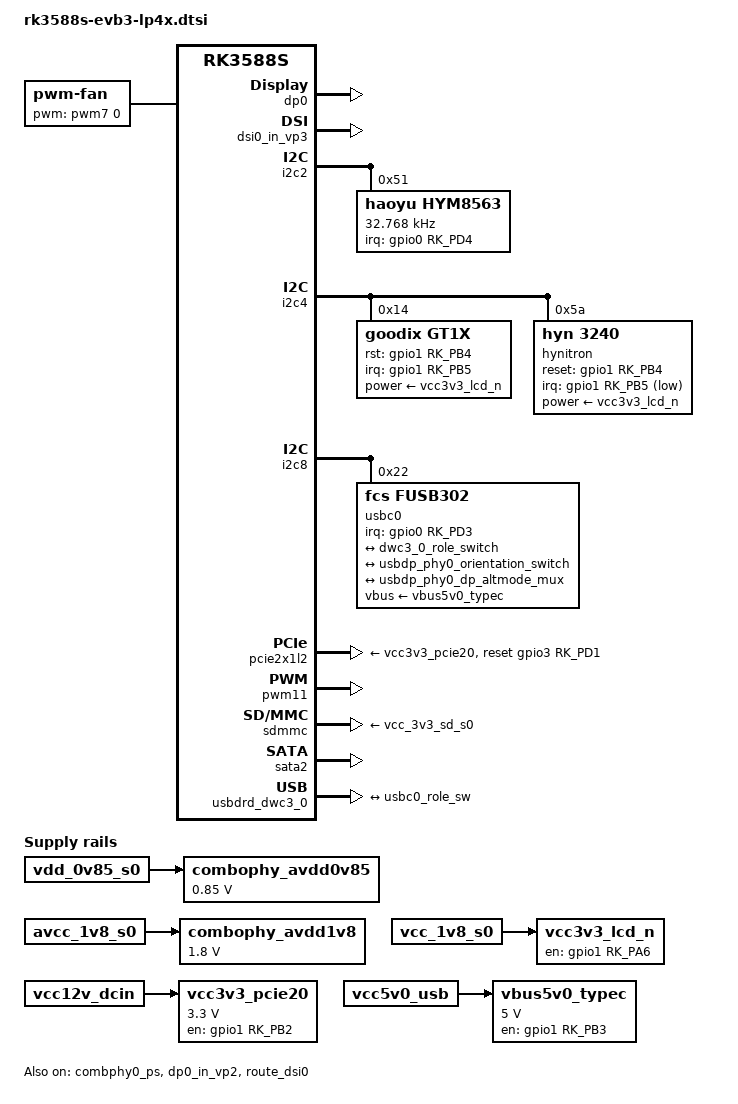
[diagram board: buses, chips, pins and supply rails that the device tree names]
// SPDX-License-Identifier: (GPL-2.0+ OR MIT)
/*
 * Copyright (c) 2021 Rockchip Electronics Co., Ltd.
 *
 */

#include "dt-bindings/usb/pd.h"
#include "rk3588s.dtsi"
#include "rk3588s-evb.dtsi"
#include "rk3588s-rk806-dual.dtsi"

/ {
	combophy_avdd0v85: combophy-avdd0v85 {
		compatible = "regulator-fixed";
		regulator-name = "combophy_avdd0v85";
		regulator-boot-on;
		regulator-always-on;
		regulator-min-microvolt = <850000>;
		regulator-max-microvolt = <850000>;
		vin-supply = <&vdd_0v85_s0>;
	};

	combophy_avdd1v8: combophy-avdd1v8 {
		compatible = "regulator-fixed";
		regulator-name = "combophy_avdd1v8";
		regulator-boot-on;
		regulator-always-on;
		regulator-min-microvolt = <1800000>;
		regulator-max-microvolt = <1800000>;
		vin-supply = <&avcc_1v8_s0>;
	};

	fan: pwm-fan {
		compatible = "pwm-fan";
		#cooling-cells = <2>;
		pwms = <&pwm7 0 50000 0>;
		cooling-levels = <0 50 100 150 200 255>;
		rockchip,temp-trips = <
			50000	1
			55000	2
			60000	3
			65000	4
			70000	5
		>;
	};

	vcc3v3_lcd_n: vcc3v3-lcd0-n {
		compatible = "regulator-fixed";
		regulator-name = "vcc3v3_lcd0_n";
		regulator-boot-on;
		enable-active-high;
		gpio = <&gpio1 RK_PA6 GPIO_ACTIVE_HIGH>;
		vin-supply = <&vcc_1v8_s0>;
	};

	vcc3v3_pcie20: vcc3v3-pcie20 {
		compatible = "regulator-fixed";
		regulator-name = "vcc3v3_pcie20";
		regulator-min-microvolt = <3300000>;
		regulator-max-microvolt = <3300000>;
		enable-active-high;
		gpios = <&gpio1 RK_PB2 GPIO_ACTIVE_HIGH>;
		startup-delay-us = <5000>;
		vin-supply = <&vcc12v_dcin>;
	};

	vbus5v0_typec: vbus5v0-typec {
		compatible = "regulator-fixed";
		regulator-name = "vbus5v0_typec";
		regulator-min-microvolt = <5000000>;
		regulator-max-microvolt = <5000000>;
		enable-active-high;
		gpio = <&gpio1 RK_PB3 GPIO_ACTIVE_HIGH>;
		vin-supply = <&vcc5v0_usb>;
		pinctrl-names = "default";
		pinctrl-0 = <&typec5v_pwren>;
	};
};

&combphy0_ps {
	status = "okay";
};

&dp0 {
	status = "okay";
};

&dp0_in_vp2 {
	status = "okay";
};

/*
 * mipi_dcphy0 needs to be enabled
 * when dsi0 is enabled
 */
&dsi0 {
	status = "disabled";
};

&dsi0_in_vp2 {
	status = "disabled";
};

&dsi0_in_vp3 {
	status = "okay";
};

/*
 * mipi_dcphy1 needs to be enabled
 * when dsi1 is enabled
 */
&dsi1 {
	status = "disabled";
};

&dsi1_in_vp2 {
	status = "disabled";
};

&dsi1_in_vp3 {
	status = "disabled";
};

&i2c2 {
	status = "okay";

	hym8563: hym8563@51 {
		compatible = "haoyu,hym8563";
		reg = <0x51>;
		#clock-cells = <0>;
		clock-frequency = <32768>;
		clock-output-names = "hym8563";
		pinctrl-names = "default";
		pinctrl-0 = <&hym8563_int>;
		interrupt-parent = <&gpio0>;
		interrupts = <RK_PD4 IRQ_TYPE_LEVEL_LOW>;
		wakeup-source;
	};
};

&i2c4 {
	status = "okay";
	pinctrl-names = "default";
	pinctrl-0 = <&i2c4m3_xfer>;

	gt1x: gt1x@14 {
		compatible = "goodix,gt1x";
		reg = <0x14>;
		pinctrl-names = "default";
		pinctrl-0 = <&touch_gpio>;
		goodix,rst-gpio = <&gpio1 RK_PB4 GPIO_ACTIVE_HIGH>;
		goodix,irq-gpio = <&gpio1 RK_PB5 IRQ_TYPE_LEVEL_LOW>;
		power-supply = <&vcc3v3_lcd_n>;
		gtp_ics_slot_report;
	};

	hynitron: hynitron@5a {
		compatible = "hyn,3240";
		reg = <0x5a>;
		power-supply = <&vcc3v3_lcd_n>;

		pinctrl-names = "ts_active","ts_suspend";
		pinctrl-0 = <&ts_int_active &ts_reset_active>;
		pinctrl-1 = <&ts_int_suspend &ts_reset_suspend>;

		reset-gpios = <&gpio1 RK_PB4 GPIO_ACTIVE_HIGH>;
		irq-gpios = <&gpio1 RK_PB5 GPIO_ACTIVE_LOW>;

		max-touch-number = <5>;
		display-coords = <0 0 1080 1920>;
		pos-swap = <0>;
		posx-reverse = <0>;
		posy-reverse = <0>;
	};
};

&i2c8 {
	status = "okay";
	pinctrl-names = "default";
	pinctrl-0 = <&i2c8m2_xfer>;

	usbc0: fusb302@22 {
		compatible = "fcs,fusb302";
		reg = <0x22>;
		interrupt-parent = <&gpio0>;
		interrupts = <RK_PD3 IRQ_TYPE_LEVEL_LOW>;
		pinctrl-names = "default";
		pinctrl-0 = <&usbc0_int>;
		vbus-supply = <&vbus5v0_typec>;
		status = "okay";

		ports {
			#address-cells = <1>;
			#size-cells = <0>;

			port@0 {
				reg = <0>;
				usbc0_role_sw: endpoint@0 {
					remote-endpoint = <&dwc3_0_role_switch>;
				};
			};
		};

		usb_con: connector {
			compatible = "usb-c-connector";
			label = "USB-C";
			data-role = "dual";
			power-role = "dual";
			try-power-role = "sink";
			op-sink-microwatt = <1000000>;
			sink-pdos =
				<PDO_FIXED(5000, 1000, PDO_FIXED_DATA_SWAP | PDO_FIXED_USB_COMM | PDO_FIXED_EXTPOWER | PDO_FIXED_DUAL_ROLE)>;
			source-pdos =
				<PDO_FIXED(5000, 3000, PDO_FIXED_DATA_SWAP | PDO_FIXED_USB_COMM | PDO_FIXED_EXTPOWER | PDO_FIXED_DUAL_ROLE)>;

			altmodes {
				#address-cells = <1>;
				#size-cells = <0>;

				altmode@0 {
					reg = <0>;
					svid = /bits/ 16 <0xff01>;
					vdo = <0x00001c46>;
				};
			};

			ports {
				#address-cells = <1>;
				#size-cells = <0>;

				port@0 {
					reg = <0>;
					usbc0_orien_sw: endpoint {
						remote-endpoint = <&usbdp_phy0_orientation_switch>;
					};
				};

				port@1 {
					reg = <1>;
					dp_altmode_mux: endpoint {
						remote-endpoint = <&usbdp_phy0_dp_altmode_mux>;
					};
				};
			};
		};
	};
};

&mipi_dcphy0 {
	status = "disabled";
};

&mipi_dcphy1 {
	status = "disabled";
};

&pcie2x1l2 {
	reset-gpios = <&gpio3 RK_PD1 GPIO_ACTIVE_HIGH>;
	vpcie3v3-supply = <&vcc3v3_pcie20>;
	status = "okay";
};

&pinctrl {
	hym8563 {
		hym8563_int: hym8563-int {
			rockchip,pins = <0 RK_PC4 RK_FUNC_GPIO &pcfg_pull_up>;
		};
	};

	touch {
		touch_gpio: touch-gpio {
			rockchip,pins =
				<1 RK_PB4 RK_FUNC_GPIO &pcfg_pull_up>,
				<1 RK_PB5 RK_FUNC_GPIO &pcfg_pull_up>;
		};

		ts_int_active: ts_int_active {
			rockchip,pins = <1 RK_PB5 RK_FUNC_GPIO &pcfg_pull_up>;
		};

		ts_reset_active: ts_reset_active {
			rockchip,pins = <1 RK_PB4 RK_FUNC_GPIO &pcfg_pull_up>;
		};

		ts_int_suspend: ts_int_suspend {
			rockchip,pins = <1 RK_PB5 RK_FUNC_GPIO &pcfg_pull_down>;
		};

		ts_reset_suspend: ts_reset_suspend {
			rockchip,pins = <1 RK_PB4 RK_FUNC_GPIO &pcfg_pull_down>;
		};
	};

	usb-typec {
		usbc0_int: usbc0-int {
			rockchip,pins = <0 RK_PD3 RK_FUNC_GPIO &pcfg_pull_up>;
		};

		typec5v_pwren: typec5v-pwren {
			rockchip,pins = <1 RK_PB3 RK_FUNC_GPIO &pcfg_pull_none>;
		};
	};
};

&pwm11 {
	status = "okay";
};

&route_dsi0 {
	status = "okay";
	connect = <&vp3_out_dsi0>;
};

&route_dsi1 {
	status = "disabled";
	connect = <&vp3_out_dsi1>;
};

&sdmmc {
	status = "okay";
	vmmc-supply = <&vcc_3v3_sd_s0>;
};

&sata2 {
	status = "okay";
};

&u2phy0_otg {
	rockchip,typec-vbus-det;
};

&u2phy2 {
	status = "disabled";
};

&u2phy3 {
	status = "disabled";
};

&u2phy2_host {
	status = "disabled";
};

&u2phy3_host {
	status = "disabled";
};

&usb_host0_ehci {
	status = "disabled";
};

&usb_host0_ohci {
	status = "disabled";
};

&usb_host1_ehci {
	status = "disabled";
};

&usb_host1_ohci {
	status = "disabled";
};

&usbdp_phy0 {
	orientation-switch;
	mode-switch;
	sbu1-dc-gpios = <&gpio1 RK_PB6 GPIO_ACTIVE_HIGH>;
	sbu2-dc-gpios = <&gpio1 RK_PB7 GPIO_ACTIVE_HIGH>;

	port {
		#address-cells = <1>;
		#size-cells = <0>;
		usbdp_phy0_orientation_switch: endpoint@0 {
			reg = <0>;
			remote-endpoint = <&usbc0_orien_sw>;
		};

		usbdp_phy0_dp_altmode_mux: endpoint@1 {
			reg = <1>;
			remote-endpoint = <&dp_altmode_mux>;
		};
	};
};

&usbdrd_dwc3_0 {
	usb-role-switch;
	port {
		#address-cells = <1>;
		#size-cells = <0>;
		dwc3_0_role_switch: endpoint@0 {
			reg = <0>;
			remote-endpoint = <&usbc0_role_sw>;
		};
	};
};

&usbhost3_0 {
	status = "disabled";
};

&usbhost_dwc3_0 {
	status = "disabled";
};
